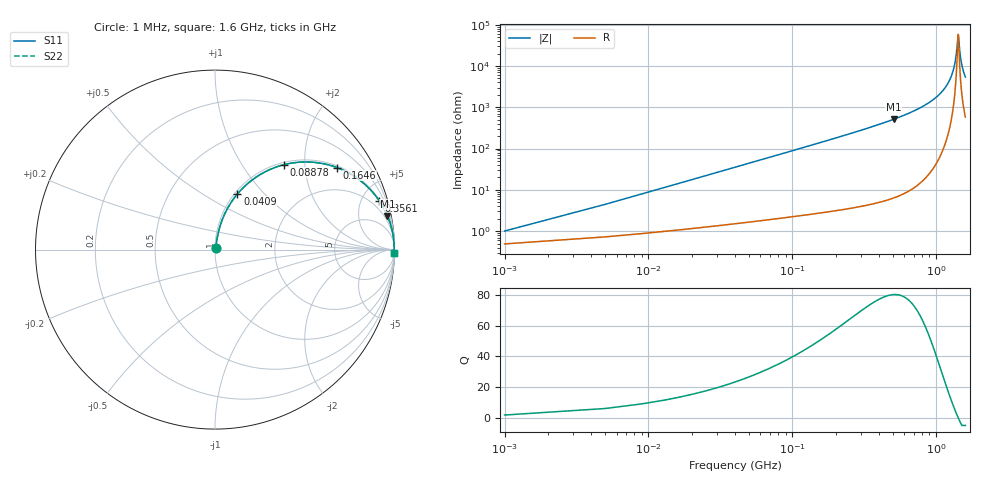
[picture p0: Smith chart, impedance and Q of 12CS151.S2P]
! Coilcraft 1206CS-151 Chip Inductor
! 29 July 2002
# MHZ S MA R 50
!Freq  MagS11  AngS11  MagS21  AngS21  MagS12  AngS12  MagS22  AngS22
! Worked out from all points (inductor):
!   402 points, 1 MHz to 1.6 GHz, reference 50 ohm
!   read as one part in series: L = 140 nH near 8.98 MHz
!   highest Q = 80.3 at 507.7 MHz (marker M1), where L = 160 nH
!   self-resonance near 1.425 GHz
!   S11 on the Smith chart (normalised r, x): 1 MHz: 1.01, +0.02; 40.9 MHz: 1.03, +0.72; 88.78 MHz: 1.04, +1.57; 164.6 MHz: 1.06, +2.93; 356.1 MHz: 1.09, +6.68; 1.6 GHz: open
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1  0.01002 60.3  0.9951 -0.5  0.9951 -0.5  0.01002 60.3
12.97  0.1127 78.6  0.984 -6.4  0.984 -6.4  0.1127 78.6
16.96  0.1464 77.4  0.9786 -8.4  0.9786 -8.4  0.1464 77.4
28.93  0.244 72.9  0.9571 -14.1  0.9571 -14.1  0.244 72.9
40.9  0.3346 68.0  0.9283 -19.5  0.9283 -19.5  0.3346 68.0
88.78  0.6092 50.9  0.7768 -37.5  0.7768 -37.5  0.6092 50.9
164.59  0.8191 33.9  0.5581 -55.0  0.5581 -55.0  0.8191 33.9
268.33  0.9209 22.1  0.3763 -67.0  0.3763 -67.0  0.9209 22.1
356.11  0.9545 16.6  0.2857 -72.6  0.2857 -72.6  0.9545 16.6
507.73  0.9791 11.0  0.1914 -78.3  0.1914 -78.3  0.9791 11.0
535.66  0.9816 10.3  0.1789 -79.0  0.1789 -79.0  0.9816 10.3
802.99  0.9939 5.5  0.09608 -83.6  0.09608 -83.6  0.9939 5.5
1070.32  0.9975 2.7  0.04627 -85.6  0.04627 -85.6  0.9975 2.7
1229.92  0.9982 1.4  0.02367 -85.0  0.02367 -85.0  0.9982 1.4
1333.66  0.9983 0.6  0.01078 -80.8  0.01078 -80.8  0.9983 0.6
1377.55  0.9983 0.3  0.005745 -72.8  0.005745 -72.8  0.9983 0.3
1425.43  0.9983 0.0  0.001727 -2.0  0.001727 -2.0  0.9983 0.0
1433.41  0.9983 -0.0  0.001924 25.5  0.001924 25.5  0.9983 -0.0
1469.32  0.9982 -0.3  0.005089 69.2  0.005089 69.2  0.9982 -0.3
1497.25  0.9981 -0.4  0.007975 76.3  0.007975 76.3  0.9981 -0.4
1541.14  0.998 -0.7  0.01251 80.6  0.01251 80.6  0.998 -0.7
1600  0.9978 -1.1  0.01846 82.8  0.01846 82.8  0.9978 -1.1
